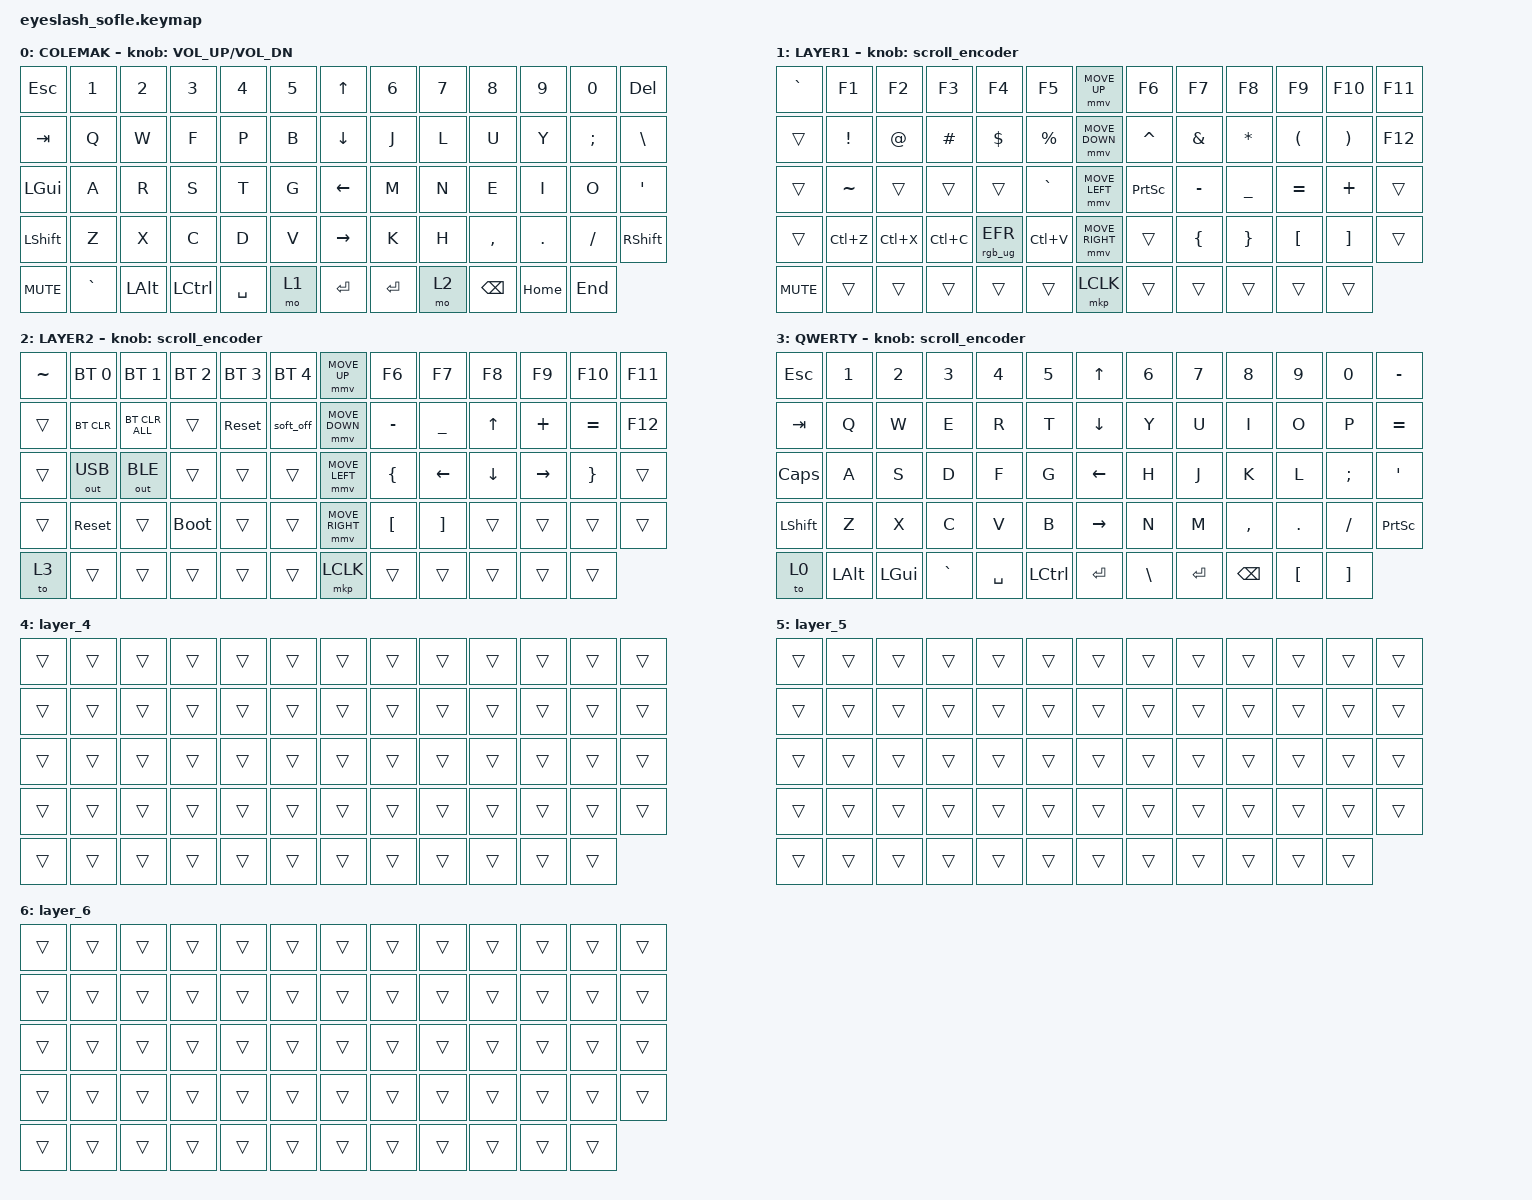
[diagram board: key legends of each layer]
#define ZMK_POINTING_DEFAULT_MOVE_VAL 1200  // 600
#define ZMK_POINTING_DEFAULT_SCRL_VAL 35    // 10

#include <input/processors.dtsi>
#include <zephyr/dt-bindings/input/input-event-codes.h>
#include <behaviors.dtsi>
#include <dt-bindings/zmk/bt.h>
#include <dt-bindings/zmk/keys.h>
#include <dt-bindings/zmk/outputs.h>
#include <dt-bindings/zmk/pointing.h>
#include <dt-bindings/zmk/rgb.h>

/ {
    zip_scroll_scaler: zip_scroll_scaler {
        compatible = "zmk,input-processor-scaler";
        #input-processor-cells = <2>;
        type = <INPUT_EV_REL>;
        codes = <INPUT_REL_WHEEL INPUT_REL_HWHEEL>;
        track-remainders;
    };
};

&mmv_input_listener { input-processors = <&zip_xy_scaler 2 1>; };

&msc_input_listener { input-processors = <&zip_scroll_scaler 2 1>; };

&msc {
    acceleration-exponent = <0>;      // 0
    time-to-max-speed-ms = <0>;       // 300
    delay-ms = <0>;                   // 0
};

&mmv {
    time-to-max-speed-ms = <400>;
    acceleration-exponent = <1>;
};

/ {
    scroll_encoder: scroll_encoder {
        compatible = "zmk,behavior-sensor-rotate";
        #sensor-binding-cells = <0>;
        bindings = <&msc SCRL_DOWN>, <&msc SCRL_UP>;

        tap-ms = <30>;
    };

    behaviors {
    };

    keymap {
        compatible = "zmk,keymap";

        layer0 {
            bindings = <
&kp ESC       &kp N1     &kp N2        &kp N3     &kp N4     &kp N5    &kp UP_ARROW     &kp N6     &kp N7  &kp N8         &kp N9    &kp N0         &kp DELETE
&kp TAB       &kp Q      &kp W         &kp F      &kp P      &kp B     &kp DOWN_ARROW   &kp J      &kp L   &kp U          &kp Y     &kp SEMICOLON  &kp BSLH
&kp LEFT_GUI  &kp A      &kp R         &kp S      &kp T      &kp G     &kp LEFT_ARROW   &kp M      &kp N   &kp E          &kp I     &kp O          &kp APOS
&kp LSHFT     &kp Z      &kp X         &kp C      &kp D      &kp V     &kp RIGHT_ARROW  &kp K      &kp H   &kp COMMA      &kp DOT   &kp FSLH       &kp RIGHT_SHIFT
&kp C_MUTE    &kp GRAVE  &kp LEFT_ALT  &kp LCTRL  &kp SPACE  &mo 1     &kp ENTER        &kp ENTER  &mo 2   &kp BACKSPACE  &kp HOME  &kp END
            >;

            sensor-bindings = <&inc_dec_kp C_VOLUME_UP C_VOL_DN>;
            display-name = "COLEMAK";
        };

        layer_1 {
            bindings = <
&kp GRAVE   &kp F1           &kp F2       &kp F3     &kp F4           &kp F5         &mmv MOVE_UP     &kp F6           &kp F7          &kp F8           &kp F9                &kp F10                &kp F11
&trans      &kp EXCLAMATION  &kp AT_SIGN  &kp POUND  &kp DOLLAR       &kp PERCENT    &mmv MOVE_DOWN   &kp CARET        &kp AMPERSAND   &kp ASTERISK     &kp LEFT_PARENTHESIS  &kp RIGHT_PARENTHESIS  &kp F12
&trans      &kp TILDE        &trans       &trans     &trans           &kp GRAVE      &mmv MOVE_LEFT   &kp PRINTSCREEN  &kp MINUS       &kp UNDERSCORE   &kp EQUAL             &kp PLUS               &trans
&trans      &kp LC(Z)        &kp LC(X)    &kp LC(C)  &rgb_ug RGB_EFR  &kp LC(V)      &mmv MOVE_RIGHT  &trans           &kp LEFT_BRACE  &kp RIGHT_BRACE  &kp LEFT_BRACKET      &kp RIGHT_BRACKET      &trans
&kp C_MUTE  &trans           &trans       &trans     &trans           &trans         &mkp LCLK        &trans           &trans          &trans           &trans                &trans
            >;

            display-name = "LAYER1";
            sensor-bindings = <&scroll_encoder>;
        };

        layer_2 {
            bindings = <
&kp TILDE  &bt BT_SEL 0  &bt BT_SEL 1    &bt BT_SEL 2  &bt BT_SEL 3  &bt BT_SEL 4    &mmv MOVE_UP     &kp F6            &kp F7             &kp F8          &kp F9     &kp F10          &kp F11
&trans     &bt BT_CLR    &bt BT_CLR_ALL  &trans        &sys_reset    &soft_off       &mmv MOVE_DOWN   &kp MINUS         &kp UNDERSCORE     &kp UP_ARROW    &kp PLUS   &kp EQUAL        &kp F12
&trans     &out OUT_USB  &out OUT_BLE    &trans        &trans        &trans          &mmv MOVE_LEFT   &kp LEFT_BRACE    &kp LEFT           &kp DOWN_ARROW  &kp RIGHT  &kp RIGHT_BRACE  &trans
&trans     &sys_reset    &trans          &bootloader   &trans        &trans          &mmv MOVE_RIGHT  &kp LEFT_BRACKET  &kp RIGHT_BRACKET  &trans          &trans     &trans           &trans
&to 3      &trans        &trans          &trans        &trans        &trans          &mkp LCLK        &trans            &trans             &trans          &trans     &trans
            >;

            display-name = "LAYER2";
            sensor-bindings = <&scroll_encoder>;
        };

        layer_3 {
            bindings = <
&kp ESC    &kp N1    &kp N2        &kp N3     &kp N4     &kp N5       &kp UP_ARROW     &kp N6         &kp N7     &kp N8         &kp N9            &kp N0             &kp MINUS
&kp TAB    &kp Q     &kp W         &kp E      &kp R      &kp T        &kp DOWN_ARROW   &kp Y          &kp U      &kp I          &kp O             &kp P              &kp EQUAL
&kp CAPS   &kp A     &kp S         &kp D      &kp F      &kp G        &kp LEFT_ARROW   &kp H          &kp J      &kp K          &kp L             &kp SEMI           &kp APOS
&kp LSHFT  &kp Z     &kp X         &kp C      &kp V      &kp B        &kp RIGHT_ARROW  &kp N          &kp M      &kp COMMA      &kp DOT           &kp FSLH           &kp PRINTSCREEN
&to 0      &kp LALT  &kp LEFT_GUI  &kp GRAVE  &kp SPACE  &kp LCTRL    &kp ENTER        &kp BACKSLASH  &kp ENTER  &kp BACKSPACE  &kp LEFT_BRACKET  &kp RIGHT_BRACKET
            >;

            display-name = "QWERTY";
            sensor-bindings = <&scroll_encoder>;
        };

        layer_4 {
            bindings = <
&trans  &trans  &trans  &trans  &trans  &trans    &trans  &trans  &trans  &trans  &trans  &trans  &trans
&trans  &trans  &trans  &trans  &trans  &trans    &trans  &trans  &trans  &trans  &trans  &trans  &trans
&trans  &trans  &trans  &trans  &trans  &trans    &trans  &trans  &trans  &trans  &trans  &trans  &trans
&trans  &trans  &trans  &trans  &trans  &trans    &trans  &trans  &trans  &trans  &trans  &trans  &trans
&trans  &trans  &trans  &trans  &trans  &trans    &trans  &trans  &trans  &trans  &trans  &trans
            >;
        };

        layer_5 {
            bindings = <
&trans  &trans  &trans  &trans  &trans  &trans    &trans  &trans  &trans  &trans  &trans  &trans  &trans
&trans  &trans  &trans  &trans  &trans  &trans    &trans  &trans  &trans  &trans  &trans  &trans  &trans
&trans  &trans  &trans  &trans  &trans  &trans    &trans  &trans  &trans  &trans  &trans  &trans  &trans
&trans  &trans  &trans  &trans  &trans  &trans    &trans  &trans  &trans  &trans  &trans  &trans  &trans
&trans  &trans  &trans  &trans  &trans  &trans    &trans  &trans  &trans  &trans  &trans  &trans
            >;
        };

        layer_6 {
            bindings = <
&trans  &trans  &trans  &trans  &trans  &trans    &trans  &trans  &trans  &trans  &trans  &trans  &trans
&trans  &trans  &trans  &trans  &trans  &trans    &trans  &trans  &trans  &trans  &trans  &trans  &trans
&trans  &trans  &trans  &trans  &trans  &trans    &trans  &trans  &trans  &trans  &trans  &trans  &trans
&trans  &trans  &trans  &trans  &trans  &trans    &trans  &trans  &trans  &trans  &trans  &trans  &trans
&trans  &trans  &trans  &trans  &trans  &trans    &trans  &trans  &trans  &trans  &trans  &trans
            >;
        };
    };
};
